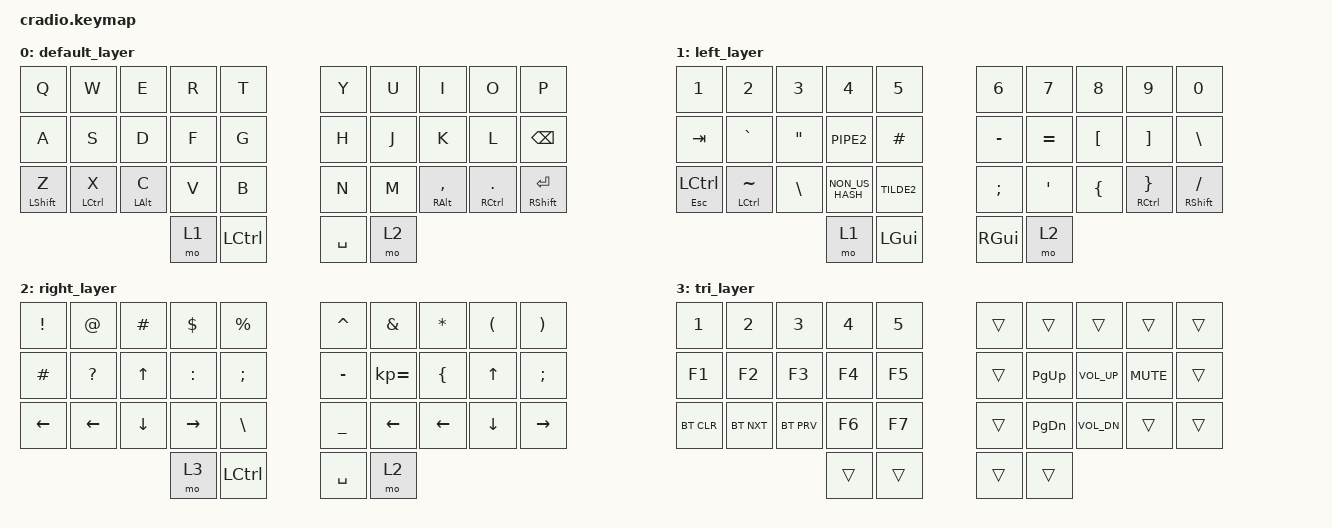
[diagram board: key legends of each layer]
/*
 (c) 2020 The ZMK Contributors
 *
 * SPDX-License-Identifier: MIT
 */

#include <behaviors.dtsi>
#include <dt-bindings/zmk/bt.h>
#include <dt-bindings/zmk/keys.h>

&mt {
    //  flavor = "tap-preferred";
    // tapping_term_ms = <200>;
};

/ {
    combos {
        compatible = "zmk,combos";

        combo_esc {
            timeout-ms = <50>;
            key-positions = <0 1>;
            bindings = <&kp ESC>;
        };

        combo_tab {
            timeout-ms = <50>;
            key-positions = <10 11>;
            bindings = <&kp TAB>;
        };

        combo_ralt {
            timeout-ms = <50>;
            key-positions = <17 16>;
            bindings = <&kp LEFT_GUI>;
        };

        combo_lalt {
            timeout-ms = <50>;
            key-positions = <11 12>;
            bindings = <&kp LALT>;
        };

        combo_lgui {
            timeout-ms = <50>;
            key-positions = <12 13>;
            bindings = <&kp LGUI>;
        };
    };

    keymap {
        compatible = "zmk,keymap";

        default_layer {
            bindings = <
&kp Q        &kp W        &kp E           &kp R  &kp T             &kp Y      &kp U  &kp I                &kp O          &kp P
&kp A        &kp S        &kp D           &kp F  &kp G             &kp H      &kp J  &kp K                &kp L          &kp BACKSPACE
&mt LSHFT Z  &mt LCTRL X  &mt LEFT_ALT C  &kp V  &kp B             &kp N      &kp M  &mt RIGHT_ALT COMMA  &mt RCTRL DOT  &mt RSHIFT RET
                                          &mo 1  &kp LEFT_CONTROL  &kp SPACE  &mo 2
            >;
        };

        left_layer {
            bindings = <
&kp NUMBER_1   &kp N2           &kp N3         &kp N4           &kp N5      &kp N6         &kp N7     &kp N8    &kp N9          &kp N0
&kp TAB        &kp GRAVE        &kp DQT        &kp PIPE2        &kp HASH    &kp MINUS      &kp EQUAL  &kp LBKT  &kp RBKT        &kp BACKSLASH
&mt ESC LCTRL  &mt LCTRL TILDE  &kp BACKSLASH  &kp NON_US_HASH  &kp TILDE2  &kp SEMICOLON  &kp SQT    &kp LBRC  &mt RCTRL RBRC  &mt RIGHT_SHIFT SLASH
                                               &mo 1            &kp LGUI    &kp RGUI       &mo 2
            >;
        };

        right_layer {
            bindings = <
&kp EXCLAMATION  &kp AT          &kp HASH  &kp DLLR   &kp PERCENT    &kp CARET  &kp AMPS      &kp ASTERISK    &kp LEFT_PARENTHESIS  &kp RIGHT_PARENTHESIS
&kp HASH         &kp QMARK       &kp UP    &kp COLON  &kp SEMICOLON  &kp MINUS  &kp KP_EQUAL  &kp LBRC        &kp UP_ARROW          &kp SEMICOLON
&kp LEFT         &kp LEFT_ARROW  &kp DOWN  &kp RIGHT  &kp BSLH       &kp UNDER  &kp LEFT      &kp LEFT_ARROW  &kp DOWN_ARROW        &kp RIGHT
                                           &mo 3      &kp LCTL       &kp SPC    &mo 2
            >;
        };

        tri_layer {
            bindings = <
&kp NUM_1   &kp NUM_2   &kp NUM_3   &kp NUM_4  &kp NUM_5  &trans  &trans     &trans        &trans      &trans
&kp F1      &kp F2      &kp F3      &kp F4     &kp F5     &trans  &kp PG_UP  &kp K_VOL_UP  &kp K_MUTE  &trans
&bt BT_CLR  &bt BT_NXT  &bt BT_PRV  &kp F6     &kp F7     &trans  &kp PG_DN  &kp K_VOL_DN  &trans      &trans
                                    &trans     &trans     &trans  &trans
            >;
        };
    };
};
